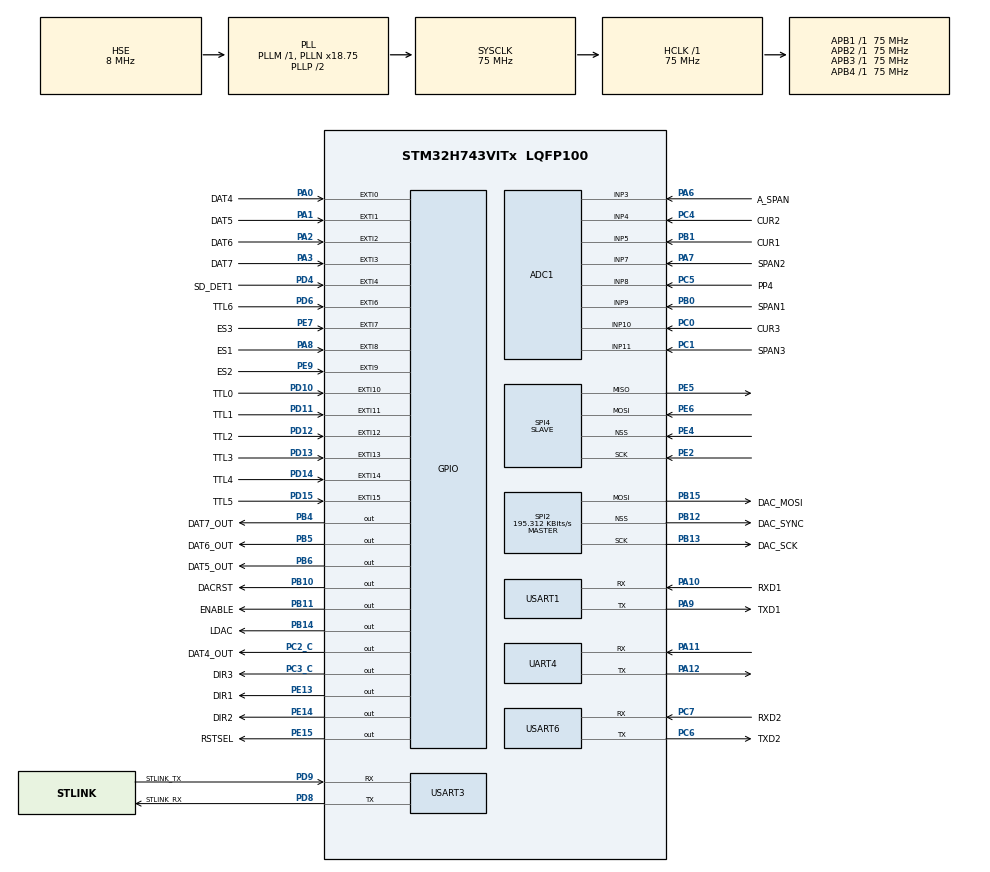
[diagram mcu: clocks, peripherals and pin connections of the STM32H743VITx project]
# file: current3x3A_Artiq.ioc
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ADC1.Channel-2\#ChannelRegularConversion=ADC_CHANNEL_5
ADC1.NbrOfConversionFlag=1
ADC1.OffsetNumber-2\#ChannelRegularConversion=ADC_OFFSET_NONE
ADC1.OffsetSignedSaturation-2\#ChannelRegularConversion=DISABLE
ADC1.Rank-2\#ChannelRegularConversion=1
ADC1.SamplingTime-2\#ChannelRegularConversion=ADC_SAMPLETIME_1CYCLE_5
ADC1.master=1
ADC2.Channel-0\#ChannelRegularConversion=ADC_CHANNEL_3
ADC2.NbrOfConversionFlag=1
ADC2.OffsetNumber-0\#ChannelRegularConversion=ADC_OFFSET_NONE
ADC2.OffsetSignedSaturation-0\#ChannelRegularConversion=DISABLE
ADC2.Rank-0\#ChannelRegularConversion=1
ADC2.SamplingTime-0\#ChannelRegularConversion=ADC_SAMPLETIME_1CYCLE_5
CORTEX_M7.CPU_DCache=Disabled
CORTEX_M7.CPU_ICache=Disabled
CORTEX_M7.MPU_Control=__NULL
CORTEX_M7.default_mode_Activation=0
FREERTOS.Tasks01=defaultTask,24,128,StartDefaultTask,Default,NULL,Dynamic,NULL,NULL;interfaceTask,8,128,StartInterfaceTask,Default,NULL,Dynamic,NULL,NULL
Mcu.Family=STM32H7
Mcu.Name=STM32H743VITx
Mcu.Package=LQFP100
NVIC.EXTI15_10_IRQn=true\:5\:0\:false\:false\:true\:true\:true\:true\:true
NVIC.EXTI9_5_IRQn=true\:5\:0\:false\:false\:true\:true\:true\:true\:true
NVIC.PriorityGroup=NVIC_PRIORITYGROUP_4
PA0.GPIO_Label=DAT4
PA0.Signal=GPXTI0
PA1.GPIO_Label=DAT5
PA1.Signal=GPXTI1
PA10.GPIO_Label=RXD1
PA10.Mode=Asynchronous
PA10.Signal=USART1_RX
PA11.Mode=Asynchronous
PA11.Signal=UART4_RX
PA12.Mode=Asynchronous
PA12.Signal=UART4_TX
PA13\ (JTMS/SWDIO).Mode=JTAG_4_pins
PA13\ (JTMS/SWDIO).Signal=DEBUG_JTMS-SWDIO
PA14\ (JTCK/SWCLK).Mode=JTAG_4_pins
PA14\ (JTCK/SWCLK).Signal=DEBUG_JTCK-SWCLK
PA15\ (JTDI).Mode=JTAG_4_pins
PA15\ (JTDI).Signal=DEBUG_JTDI
PA2.GPIO_Label=DAT6
PA2.Signal=GPXTI2
PA3.GPIO_Label=DAT7
PA3.Signal=GPXTI3
PA6.GPIO_Label=A_SPAN
PA6.Signal=ADCx_INP3
PA7.GPIO_Label=SPAN2
PA7.Signal=ADCx_INP7
PA8.GPIO_Label=ES1
PA8.Signal=GPXTI8
PA9.GPIO_Label=TXD1
PA9.Mode=Asynchronous
PA9.Signal=USART1_TX
PB0.GPIO_Label=SPAN1
PB0.Signal=ADCx_INP9
PB1.GPIO_Label=CUR1
PB1.Signal=ADCx_INP5
PB10.GPIO_Label=DACRST
PB10.Signal=GPIO_Output
PB11.GPIO_Label=ENABLE
PB11.Signal=GPIO_Output
PB12.GPIO_Label=DAC_SYNC
PB12.Mode=NSS_Signal_Hard_Output
PB12.Signal=SPI2_NSS
PB13.GPIO_Label=DAC_SCK
PB13.Mode=TX_Only_Simplex_Unidirect_Master
PB13.Signal=SPI2_SCK
PB14.GPIO_Label=LDAC
PB14.Signal=GPIO_Output
PB15.GPIO_Label=DAC_MOSI
PB15.Mode=TX_Only_Simplex_Unidirect_Master
PB15.Signal=SPI2_MOSI
PB3\ (JTDO/TRACESWO).Mode=JTAG_4_pins
PB3\ (JTDO/TRACESWO).Signal=DEBUG_JTDO-SWO
PB4\ (NJTRST).GPIO_Label=DAT7_OUT
PB4\ (NJTRST).Signal=GPIO_Output
PB5.GPIO_Label=DAT6_OUT
PB5.Signal=GPIO_Output
PB6.GPIO_Label=DAT5_OUT
PB6.Signal=GPIO_Output
PC0.GPIO_Label=CUR3
PC0.Signal=ADCx_INP10
PC1.GPIO_Label=SPAN3
PC1.Signal=ADCx_INP11
PC2_C.GPIO_Label=DAT4_OUT
PC2_C.Signal=GPIO_Output
PC3_C.GPIO_Label=DIR3
PC3_C.Signal=GPIO_Output
PC4.GPIO_Label=CUR2
PC4.Signal=ADCx_INP4
PC5.GPIO_Label=PP4
PC5.Signal=ADCx_INP8
PC6.GPIO_Label=TXD2
PC6.Mode=Asynchronous
PC6.Signal=USART6_TX
PC7.GPIO_Label=RXD2
PC7.Mode=Asynchronous
PC7.Signal=USART6_RX
PC8.Signal=SDMMC1_D0
PC9.Signal=SDMMC1_D1
PD10.GPIO_Label=TTL0
PD10.GPIO_PuPd=GPIO_PULLDOWN
PD10.Signal=GPXTI10
PD11.GPIO_Label=TTL1
PD11.GPIO_PuPd=GPIO_PULLDOWN
PD11.Signal=GPXTI11
PD12.GPIO_Label=TTL2
PD12.GPIO_PuPd=GPIO_PULLDOWN
PD12.Signal=GPXTI12
PD13.GPIO_Label=TTL3
PD13.GPIO_PuPd=GPIO_PULLDOWN
PD13.Signal=GPXTI13
PD14.GPIO_Label=TTL4
PD14.GPIO_PuPd=GPIO_PULLDOWN
PD14.Signal=GPXTI14
PD15.GPIO_Label=TTL5
PD15.GPIO_PuPd=GPIO_PULLDOWN
PD15.Signal=GPXTI15
PD4.GPIO_Label=SD_DET1
PD4.Signal=GPXTI4
PD6.GPIO_Label=TTL6
PD6.GPIO_PuPd=GPIO_PULLDOWN
PD6.Signal=GPXTI6
PD8.GPIO_Label=STLINK_RX
PD8.Mode=Asynchronous
PD8.Signal=USART3_TX
PD9.GPIO_Label=STLINK_TX
PD9.Mode=Asynchronous
PD9.Signal=USART3_RX
PE13.GPIO_Label=DIR1
PE13.Signal=GPIO_Output
PE14.GPIO_Label=DIR2
PE14.Signal=GPIO_Output
PE15.GPIO_Label=RSTSEL
PE15.Signal=GPIO_Output
PE2.Mode=Full_Duplex_Slave
PE2.Signal=SPI4_SCK
PE4.Mode=NSS_Signal_Hard_Input
PE4.Signal=SPI4_NSS
PE5.Mode=Full_Duplex_Slave
PE5.Signal=SPI4_MISO
PE6.Mode=Full_Duplex_Slave
PE6.Signal=SPI4_MOSI
PE7.GPIO_Label=ES3
PE7.Signal=GPXTI7
PE9.GPIO_Label=ES2
PE9.Signal=GPXTI9
PH0-OSC_IN\ (PH0).Mode=HSE-External-Oscillator
PH0-OSC_IN\ (PH0).Signal=RCC_OSC_IN
PH1-OSC_OUT\ (PH1).Mode=HSE-External-Oscillator
PH1-OSC_OUT\ (PH1).Signal=RCC_OSC_OUT
ProjectManager.HeapSize=0x200
ProjectManager.StackSize=0x400
ProjectManager.TargetToolchain=STM32CubeIDE
RCC.ADCFreq_Value=75000000
RCC.APB1Freq_Value=75000000
RCC.APB2Freq_Value=75000000
RCC.APB3Freq_Value=75000000
RCC.APB4Freq_Value=75000000
RCC.CortexFreq_Value=75000000
RCC.DIVM1=1
RCC.DIVM2=1
RCC.DIVN1=18
RCC.DIVN2=18
RCC.DIVQ1=3
RCC.HCLKFreq_Value=75000000
RCC.HSE_VALUE=8000000
RCC.PLL2FRACN=6144
RCC.PLLFRACN=6144
RCC.PLLSourceVirtual=RCC_PLLSOURCE_HSE
RCC.PWR_Regulator_Voltage_Scale=PWR_REGULATOR_VOLTAGE_SCALE2
RCC.SYSCLKFreq_VALUE=75000000
RCC.SYSCLKSource=RCC_SYSCLKSOURCE_PLLCLK
RCC.USBFreq_Value=50000000
SH.ADCx_INP10.0=ADC1_INP10,IN10-Single-Ended
SH.ADCx_INP10.1=ADC2_INP10,IN10-Single-Ended
SH.ADCx_INP11.0=ADC1_INP11,IN11-Single-Ended
SH.ADCx_INP11.1=ADC2_INP11,IN11-Single-Ended
SH.ADCx_INP3.0=ADC1_INP3,IN3-Single-Ended
SH.ADCx_INP3.1=ADC2_INP3,IN3-Single-Ended
SH.ADCx_INP4.0=ADC1_INP4,IN4-Single-Ended
SH.ADCx_INP4.1=ADC2_INP4,IN4-Single-Ended
SH.ADCx_INP5.0=ADC1_INP5,IN5-Single-Ended
SH.ADCx_INP5.1=ADC2_INP5,IN5-Single-Ended
SH.ADCx_INP7.0=ADC1_INP7,IN7-Single-Ended
SH.ADCx_INP7.1=ADC2_INP7,IN7-Single-Ended
SH.ADCx_INP8.0=ADC1_INP8,IN8-Single-Ended
SH.ADCx_INP8.1=ADC2_INP8,IN8-Single-Ended
SH.ADCx_INP9.0=ADC1_INP9,IN9-Single-Ended
SH.ADCx_INP9.1=ADC2_INP9,IN9-Single-Ended
SPI2.BaudRatePrescaler=SPI_BAUDRATEPRESCALER_256
SPI2.CLKPhase=SPI_PHASE_2EDGE
SPI2.CalculateBaudRate=195.312 KBits/s
SPI2.DataSize=SPI_DATASIZE_24BIT
SPI2.Direction=SPI_DIRECTION_2LINES_TXONLY
SPI2.Mode=SPI_MODE_MASTER
SPI2.VirtualNSS=VM_NSSHARD
SPI2.VirtualType=VM_MASTER
SPI4.Direction=SPI_DIRECTION_2LINES
SPI4.Mode=SPI_MODE_SLAVE
SPI4.VirtualNSS=VM_NSSHARD
SPI4.VirtualType=VM_SLAVE
USART1.VirtualMode-Asynchronous=VM_ASYNC
USART3.VirtualMode-Asynchronous=VM_ASYNC
USART6.VirtualMode=VM_ASYNC
VP_FREERTOS_VS_CMSIS_V2.Mode=CMSIS_V2
VP_MEMORYMAP_VS_MEMORYMAP.Mode=CurAppReg
board=NUCLEO-H743ZI2

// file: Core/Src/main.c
/* USER CODE BEGIN Header */
/**
  ******************************************************************************
  * @file           : main.c
  * @brief          : Main program body
  ******************************************************************************
  * @attention
  *
  * Copyright (c) 2024 STMicroelectronics.
  * All rights reserved.
  *
  * This software is licensed under terms that can be found in the LICENSE file
  * in the root directory of this software component.
  * If no LICENSE file comes with this software, it is provided AS-IS.
  *
  ******************************************************************************
  */
/* USER CODE END Header */
#include "main.h"
#include "cmsis_os.h"

/* USER CODE BEGIN Includes */
#include "interface.h"
/* USER CODE END Includes */

/* USER CODE BEGIN PD */
#define FLASH_PARAM_START_ADDR  ((uint32_t)0x081E0000)  // bank 2, sektor 7
#define FLASH_WORD_SIZE        (32)  // Flash word = 256-bit = 32 bytes
#define BUFFER_SIZE 100
#define MAX(a,b) (((a)>(b))?(a):(b))
#define NUMBER_OF_STATES 8
/* USER CODE END PD */

ADC_HandleTypeDef hadc1;
ADC_HandleTypeDef hadc2;

SPI_HandleTypeDef hspi2;
SPI_HandleTypeDef hspi4;

UART_HandleTypeDef huart4;
UART_HandleTypeDef huart1;
UART_HandleTypeDef huart3;
UART_HandleTypeDef huart6;

/* Definitions for defaultTask */
osThreadId_t defaultTaskHandle;
const osThreadAttr_t defaultTask_attributes = {
  .name = "defaultTask",
  .stack_size = 128 * 4,
  .priority = (osPriority_t) osPriorityNormal,
};
/* Definitions for interfaceTask */
osThreadId_t interfaceTaskHandle;
const osThreadAttr_t interfaceTask_attributes = {
  .name = "interfaceTask",
  .stack_size = 128 * 4,
  .priority = (osPriority_t) osPriorityLow,
};
/* USER CODE BEGIN PV */
char spi_buf[30];
int state;
uint16_t d_in;
/* `just_started` no longer needed since DAC is updated on every trigger */

/* create an array for DAC's values:
		row 0 for DAC1: X1, Y1, Z1, T1
		row 1 for DAC2: X2, Y2, Z2, T2
		...
		X,Y,Z are voltage value in volt and T is time in ms
*/
double DAC[NUMBER_OF_STATES][4] = {
    [0 ... NUMBER_OF_STATES-1] = {0.0, 0.0, 0.0, 1.0}
};
double TDAC[4] = {0.0, 0.0, 0.0, 1}; // <- this tab is used for transitions between states
GPIO_TypeDef* t_DIR_GPIO_Port[3] = {DIR1_GPIO_Port, DIR2_GPIO_Port, DIR3_GPIO_Port};
uint16_t t_DIR_Pin[3] = {DIR1_Pin, DIR2_Pin, DIR3_Pin};
const double v_ref = 3.0;
const int max_dec = 65536;
int last_r = 3;

void Flash_Write_Params(uint32_t address, parameters *data) {
  HAL_FLASH_Unlock();  // Odblokowanie pamięci flash

  FLASH_EraseInitTypeDef eraseInitStruct;
  uint32_t sectorError;

  // Kasowanie sektora przed zapisem
  eraseInitStruct.TypeErase    = FLASH_TYPEERASE_SECTORS;
  eraseInitStruct.Banks        = FLASH_BANK_2;  // **Bank 2**
  eraseInitStruct.Sector       = FLASH_SECTOR_7;  // **Sektor 7**
  eraseInitStruct.NbSectors    = 1;
  eraseInitStruct.VoltageRange = FLASH_VOLTAGE_RANGE_3;

  if (HAL_FLASHEx_Erase(&eraseInitStruct, &sectorError) != HAL_OK) {
      HAL_FLASH_Lock();
      return;  // Błąd kasowania
  }

  uint64_t *data_ptr = (uint64_t*)data;
  uint64_t flash_word[4];
  for (uint32_t i = 0; i < sizeof(parameters) / 8; i += 4) {
      flash_word[0] = (i < sizeof(parameters) / 8) ? data_ptr[i] : 0xFFFFFFFFFFFFFFFF;
      flash_word[1] = (i + 1 < sizeof(parameters) / 8) ? data_ptr[i + 1] : 0xFFFFFFFFFFFFFFFF;
      flash_word[2] = (i + 2 < sizeof(parameters) / 8) ? data_ptr[i + 2] : 0xFFFFFFFFFFFFFFFF;
      flash_word[3] = (i + 3 < sizeof(parameters) / 8) ? data_ptr[i + 3] : 0xFFFFFFFFFFFFFFFF;

      if (HAL_FLASH_Program(FLASH_TYPEPROGRAM_FLASHWORD, address + i * 8, (uint64_t)flash_word) != HAL_OK) {
          HAL_FLASH_Lock();
          return;  // Błąd zapisu
      }
  }

  HAL_FLASH_Lock();  // Zablokowanie pamięci flash
}

void Flash_Read_Params(uint32_t address, parameters *data) {
  memcpy(data, (void*)address, sizeof(parameters));  // Odczytaj całą strukturę
}

uint32_t Flash_Read_Version(uint32_t address) {
  return *(volatile double*)address;  // Odczytaj pierwsze 4 bajty
}

/* USER CODE END PV */

void SystemClock_Config(void);
void PeriphCommonClock_Config(void);
static void MX_GPIO_Init(void);
static void MX_USART3_UART_Init(void);
static void MX_ADC1_Init(void);
static void MX_SPI2_Init(void);
static void MX_UART4_Init(void);
static void MX_ADC2_Init(void);
static void MX_SPI4_Init(void);
static void MX_USART1_UART_Init(void);
static void MX_USART6_UART_Init(void);
void StartDefaultTask(void *argument);
void StartInterfaceTask(void *argument);

/* USER CODE BEGIN PFP */
void SendSpiMesToDac(uint32_t);
void SetDAC(uint8_t channel, uint16_t value);
void SendToDAC(int r);
int ExtractMessageOld(char* msg, char* out);
void ExtractMessage(char* rxBuffer, char* txBuffer);
void arrayToString(double DAC[4][4], char *result);
void update_array();
static inline uint8_t ttl_bit(GPIO_TypeDef *port, uint16_t pin);
/* USER CODE END PFP */

/* USER CODE BEGIN 0 */
extern parameters par;
/* USER CODE END 0 */

int main(void)
{

  /* MCU Configuration--------------------------------------------------------*/

  /* Reset of all peripherals, Initializes the Flash interface and the Systick. */
  HAL_Init();

  /* Configure the system clock */
  SystemClock_Config();

  /* Configure the peripherals common clocks */
  PeriphCommonClock_Config();

  /* Initialize all configured peripherals */
  MX_GPIO_Init();
  MX_USART3_UART_Init();
  MX_ADC1_Init();
  MX_SPI2_Init();
  MX_UART4_Init();
  MX_ADC2_Init();
  MX_SPI4_Init();
  MX_USART1_UART_Init();
  MX_USART6_UART_Init();
  /* USER CODE BEGIN 2 */

  initInterface();

  // read par from flash
  if (par.version != Flash_Read_Version(FLASH_PARAM_START_ADDR)){
    Flash_Write_Params(FLASH_PARAM_START_ADDR, &par);
  }
  else{
    Flash_Read_Params(FLASH_PARAM_START_ADDR, &par);
  }

  // DAC - Reset select.
	// If RSTSEL is low, input coding is binary;
	// if high = 2's complement
	HAL_GPIO_WritePin(RSTSEL_GPIO_Port, RSTSEL_Pin, GPIO_PIN_RESET);

	// if SET = work, if RESET = set all outputs to 0
	// (this pin was solderd to 3.3V on board in 3x3A_v2 version because of bug
	HAL_GPIO_WritePin(DACRST_GPIO_Port, DACRST_Pin, GPIO_PIN_SET);

	SetDAC(0, 0);
	SetDAC(1, 0);
	SetDAC(2, 0);
	SetDAC(3, 0);

	// DIR SET means: positive and DIR RESET means: negative
	HAL_GPIO_WritePin(DIR1_GPIO_Port, DIR1_Pin, GPIO_PIN_SET);
	HAL_GPIO_WritePin(DIR2_GPIO_Port, DIR2_Pin, GPIO_PIN_SET);
	HAL_GPIO_WritePin(DIR3_GPIO_Port, DIR3_Pin, GPIO_PIN_SET);
  /* USER CODE END 2 */

  /* Init scheduler */
  osKernelInitialize();

  /* Create the thread(s) */
  /* creation of defaultTask */
  defaultTaskHandle = osThreadNew(StartDefaultTask, NULL, &defaultTask_attributes);

  /* creation of interfaceTask */
  interfaceTaskHandle = osThreadNew(StartInterfaceTask, NULL, &interfaceTask_attributes);

  /* Start scheduler */
  osKernelStart();

  /* We should never get here as control is now taken by the scheduler */

  /* Infinite loop */
  while (1)
  {

  }
}

void SystemClock_Config(void)
{
  RCC_OscInitTypeDef RCC_OscInitStruct = {0};
  RCC_ClkInitTypeDef RCC_ClkInitStruct = {0};

  /** Supply configuration update enable
  */
  HAL_PWREx_ConfigSupply(PWR_LDO_SUPPLY);

  /** Configure the main internal regulator output voltage
  */
  __HAL_PWR_VOLTAGESCALING_CONFIG(PWR_REGULATOR_VOLTAGE_SCALE2);

  while(!__HAL_PWR_GET_FLAG(PWR_FLAG_VOSRDY)) {}

  /** Initializes the RCC Oscillators according to the specified parameters
  * in the RCC_OscInitTypeDef structure.
  */
  RCC_OscInitStruct.OscillatorType = RCC_OSCILLATORTYPE_HSE;
  RCC_OscInitStruct.HSEState = RCC_HSE_ON;
  RCC_OscInitStruct.PLL.PLLState = RCC_PLL_ON;
  RCC_OscInitStruct.PLL.PLLSource = RCC_PLLSOURCE_HSE;
  RCC_OscInitStruct.PLL.PLLM = 1;
  RCC_OscInitStruct.PLL.PLLN = 18;
  RCC_OscInitStruct.PLL.PLLP = 2;
  RCC_OscInitStruct.PLL.PLLQ = 3;
  RCC_OscInitStruct.PLL.PLLR = 2;
  RCC_OscInitStruct.PLL.PLLRGE = RCC_PLL1VCIRANGE_3;
  RCC_OscInitStruct.PLL.PLLVCOSEL = RCC_PLL1VCOMEDIUM;
  RCC_OscInitStruct.PLL.PLLFRACN = 6144;
  if (HAL_RCC_OscConfig(&RCC_OscInitStruct) != HAL_OK)
  {
    Error_Handler();
  }

  /** Initializes the CPU, AHB and APB buses clocks
  */
  RCC_ClkInitStruct.ClockType = RCC_CLOCKTYPE_HCLK|RCC_CLOCKTYPE_SYSCLK
                              |RCC_CLOCKTYPE_PCLK1|RCC_CLOCKTYPE_PCLK2
                              |RCC_CLOCKTYPE_D3PCLK1|RCC_CLOCKTYPE_D1PCLK1;
  RCC_ClkInitStruct.SYSCLKSource = RCC_SYSCLKSOURCE_PLLCLK;
  RCC_ClkInitStruct.SYSCLKDivider = RCC_SYSCLK_DIV1;
  RCC_ClkInitStruct.AHBCLKDivider = RCC_HCLK_DIV1;
  RCC_ClkInitStruct.APB3CLKDivider = RCC_APB3_DIV1;
  RCC_ClkInitStruct.APB1CLKDivider = RCC_APB1_DIV1;
  RCC_ClkInitStruct.APB2CLKDivider = RCC_APB2_DIV1;
  RCC_ClkInitStruct.APB4CLKDivider = RCC_APB4_DIV1;

  if (HAL_RCC_ClockConfig(&RCC_ClkInitStruct, FLASH_LATENCY_1) != HAL_OK)
  {
    Error_Handler();
  }
}

void PeriphCommonClock_Config(void)
{
  RCC_PeriphCLKInitTypeDef PeriphClkInitStruct = {0};

  /** Initializes the peripherals clock
  */
  PeriphClkInitStruct.PeriphClockSelection = RCC_PERIPHCLK_ADC;
  PeriphClkInitStruct.PLL2.PLL2M = 1;
  PeriphClkInitStruct.PLL2.PLL2N = 18;
  PeriphClkInitStruct.PLL2.PLL2P = 2;
  PeriphClkInitStruct.PLL2.PLL2Q = 2;
  PeriphClkInitStruct.PLL2.PLL2R = 2;
  PeriphClkInitStruct.PLL2.PLL2RGE = RCC_PLL2VCIRANGE_3;
  PeriphClkInitStruct.PLL2.PLL2VCOSEL = RCC_PLL2VCOMEDIUM;
  PeriphClkInitStruct.PLL2.PLL2FRACN = 6144;
  PeriphClkInitStruct.AdcClockSelection = RCC_ADCCLKSOURCE_PLL2;
  if (HAL_RCCEx_PeriphCLKConfig(&PeriphClkInitStruct) != HAL_OK)
  {
    Error_Handler();
  }
}

static void MX_ADC1_Init(void)
{

  ADC_MultiModeTypeDef multimode = {0};
  ADC_ChannelConfTypeDef sConfig = {0};

  /** Common config
  */
  hadc1.Instance = ADC1;
  hadc1.Init.ScanConvMode = ADC_SCAN_DISABLE;
  hadc1.Init.EOCSelection = ADC_EOC_SINGLE_CONV;
  hadc1.Init.LowPowerAutoWait = DISABLE;
  hadc1.Init.ContinuousConvMode = DISABLE;
  hadc1.Init.NbrOfConversion = 1;
  hadc1.Init.DiscontinuousConvMode = DISABLE;
  hadc1.Init.ExternalTrigConv = ADC_SOFTWARE_START;
  hadc1.Init.ExternalTrigConvEdge = ADC_EXTERNALTRIGCONVEDGE_NONE;
  hadc1.Init.ConversionDataManagement = ADC_CONVERSIONDATA_DR;
  hadc1.Init.Overrun = ADC_OVR_DATA_PRESERVED;
  hadc1.Init.LeftBitShift = ADC_LEFTBITSHIFT_NONE;
  hadc1.Init.OversamplingMode = DISABLE;
  hadc1.Init.Oversampling.Ratio = 1;
  if (HAL_ADC_Init(&hadc1) != HAL_OK)
  {
    Error_Handler();
  }
  hadc1.Init.ClockPrescaler = ADC_CLOCK_ASYNC_DIV2;
  hadc1.Init.Resolution = ADC_RESOLUTION_16B;
  if (HAL_ADC_Init(&hadc1) != HAL_OK)
  {
    Error_Handler();
  }

  /** Configure the ADC multi-mode
  */
  multimode.Mode = ADC_MODE_INDEPENDENT;
  if (HAL_ADCEx_MultiModeConfigChannel(&hadc1, &multimode) != HAL_OK)
  {
    Error_Handler();
  }

  /** Configure Regular Channel
  */
  sConfig.Channel = ADC_CHANNEL_5;
  sConfig.Rank = ADC_REGULAR_RANK_1;
  sConfig.SamplingTime = ADC_SAMPLETIME_1CYCLE_5;
  sConfig.SingleDiff = ADC_SINGLE_ENDED;
  sConfig.OffsetNumber = ADC_OFFSET_NONE;
  sConfig.Offset = 0;
  sConfig.OffsetSignedSaturation = DISABLE;
  if (HAL_ADC_ConfigChannel(&hadc1, &sConfig) != HAL_OK)
  {
    Error_Handler();
  }

}

static void MX_ADC2_Init(void)
{

  ADC_ChannelConfTypeDef sConfig = {0};

  /** Common config
  */
  hadc2.Instance = ADC2;
  hadc2.Init.ScanConvMode = ADC_SCAN_DISABLE;
  hadc2.Init.EOCSelection = ADC_EOC_SINGLE_CONV;
  hadc2.Init.LowPowerAutoWait = DISABLE;
  hadc2.Init.ContinuousConvMode = DISABLE;
  hadc2.Init.NbrOfConversion = 1;
  hadc2.Init.DiscontinuousConvMode = DISABLE;
  hadc2.Init.ExternalTrigConv = ADC_SOFTWARE_START;
  hadc2.Init.ExternalTrigConvEdge = ADC_EXTERNALTRIGCONVEDGE_NONE;
  hadc2.Init.ConversionDataManagement = ADC_CONVERSIONDATA_DR;
  hadc2.Init.Overrun = ADC_OVR_DATA_PRESERVED;
  hadc2.Init.LeftBitShift = ADC_LEFTBITSHIFT_NONE;
  hadc2.Init.OversamplingMode = DISABLE;
  hadc2.Init.Oversampling.Ratio = 1;
  if (HAL_ADC_Init(&hadc2) != HAL_OK)
  {
    Error_Handler();
  }
  hadc2.Init.ClockPrescaler = ADC_CLOCK_ASYNC_DIV2;
  hadc2.Init.Resolution = ADC_RESOLUTION_16B;
  if (HAL_ADC_Init(&hadc2) != HAL_OK)
  {
    Error_Handler();
  }

  /** Configure Regular Channel
  */
  sConfig.Channel = ADC_CHANNEL_3;
  sConfig.Rank = ADC_REGULAR_RANK_1;
  sConfig.SamplingTime = ADC_SAMPLETIME_1CYCLE_5;
  sConfig.SingleDiff = ADC_SINGLE_ENDED;
  sConfig.OffsetNumber = ADC_OFFSET_NONE;
  sConfig.Offset = 0;
  sConfig.OffsetSignedSaturation = DISABLE;
  if (HAL_ADC_ConfigChannel(&hadc2, &sConfig) != HAL_OK)
  {
    Error_Handler();
  }

}

static void MX_SPI2_Init(void)
{

  /* SPI2 parameter configuration*/
  hspi2.Instance = SPI2;
  hspi2.Init.Mode = SPI_MODE_MASTER;
  hspi2.Init.Direction = SPI_DIRECTION_2LINES_TXONLY;
  hspi2.Init.DataSize = SPI_DATASIZE_24BIT;
  hspi2.Init.CLKPolarity = SPI_POLARITY_LOW;
  hspi2.Init.CLKPhase = SPI_PHASE_2EDGE;
  hspi2.Init.NSS = SPI_NSS_HARD_OUTPUT;
  hspi2.Init.BaudRatePrescaler = SPI_BAUDRATEPRESCALER_256;
  hspi2.Init.FirstBit = SPI_FIRSTBIT_MSB;
  hspi2.Init.TIMode = SPI_TIMODE_DISABLE;
  hspi2.Init.CRCCalculation = SPI_CRCCALCULATION_DISABLE;
  hspi2.Init.CRCPolynomial = 0x0;
  hspi2.Init.NSSPMode = SPI_NSS_PULSE_ENABLE;
  hspi2.Init.NSSPolarity = SPI_NSS_POLARITY_LOW;
  hspi2.Init.FifoThreshold = SPI_FIFO_THRESHOLD_01DATA;
  hspi2.Init.TxCRCInitializationPattern = SPI_CRC_INITIALIZATION_ALL_ZERO_PATTERN;
  hspi2.Init.RxCRCInitializationPattern = SPI_CRC_INITIALIZATION_ALL_ZERO_PATTERN;
  hspi2.Init.MasterSSIdleness = SPI_MASTER_SS_IDLENESS_00CYCLE;
  hspi2.Init.MasterInterDataIdleness = SPI_MASTER_INTERDATA_IDLENESS_00CYCLE;
  hspi2.Init.MasterReceiverAutoSusp = SPI_MASTER_RX_AUTOSUSP_DISABLE;
  hspi2.Init.MasterKeepIOState = SPI_MASTER_KEEP_IO_STATE_DISABLE;
  hspi2.Init.IOSwap = SPI_IO_SWAP_DISABLE;
  if (HAL_SPI_Init(&hspi2) != HAL_OK)
  {
    Error_Handler();
  }

}

static void MX_SPI4_Init(void)
{

  /* SPI4 parameter configuration*/
  hspi4.Instance = SPI4;
  hspi4.Init.Mode = SPI_MODE_SLAVE;
  hspi4.Init.Direction = SPI_DIRECTION_2LINES;
  hspi4.Init.DataSize = SPI_DATASIZE_4BIT;
  hspi4.Init.CLKPolarity = SPI_POLARITY_LOW;
  hspi4.Init.CLKPhase = SPI_PHASE_1EDGE;
  hspi4.Init.NSS = SPI_NSS_HARD_INPUT;
  hspi4.Init.FirstBit = SPI_FIRSTBIT_MSB;
  hspi4.Init.TIMode = SPI_TIMODE_DISABLE;
  hspi4.Init.CRCCalculation = SPI_CRCCALCULATION_DISABLE;
  hspi4.Init.CRCPolynomial = 0x0;
  hspi4.Init.NSSPMode = SPI_NSS_PULSE_DISABLE;
  hspi4.Init.NSSPolarity = SPI_NSS_POLARITY_LOW;
  hspi4.Init.FifoThreshold = SPI_FIFO_THRESHOLD_01DATA;
  hspi4.Init.TxCRCInitializationPattern = SPI_CRC_INITIALIZATION_ALL_ZERO_PATTERN;
  hspi4.Init.RxCRCInitializationPattern = SPI_CRC_INITIALIZATION_ALL_ZERO_PATTERN;
  hspi4.Init.MasterSSIdleness = SPI_MASTER_SS_IDLENESS_00CYCLE;
  hspi4.Init.MasterInterDataIdleness = SPI_MASTER_INTERDATA_IDLENESS_00CYCLE;
  hspi4.Init.MasterReceiverAutoSusp = SPI_MASTER_RX_AUTOSUSP_DISABLE;
  hspi4.Init.MasterKeepIOState = SPI_MASTER_KEEP_IO_STATE_DISABLE;
  hspi4.Init.IOSwap = SPI_IO_SWAP_DISABLE;
  if (HAL_SPI_Init(&hspi4) != HAL_OK)
  {
    Error_Handler();
  }

}

static void MX_UART4_Init(void)
{

  huart4.Instance = UART4;
  huart4.Init.BaudRate = 115200;
  huart4.Init.WordLength = UART_WORDLENGTH_8B;
  huart4.Init.StopBits = UART_STOPBITS_1;
  huart4.Init.Parity = UART_PARITY_NONE;
  huart4.Init.Mode = UART_MODE_TX_RX;
  huart4.Init.HwFlowCtl = UART_HWCONTROL_NONE;
  huart4.Init.OverSampling = UART_OVERSAMPLING_16;
  huart4.Init.OneBitSampling = UART_ONE_BIT_SAMPLE_DISABLE;
  huart4.Init.ClockPrescaler = UART_PRESCALER_DIV1;
  huart4.AdvancedInit.AdvFeatureInit = UART_ADVFEATURE_NO_INIT;
  if (HAL_UART_Init(&huart4) != HAL_OK)
  {
    Error_Handler();
  }
  if (HAL_UARTEx_SetTxFifoThreshold(&huart4, UART_TXFIFO_THRESHOLD_1_8) != HAL_OK)
  {
    Error_Handler();
  }
  if (HAL_UARTEx_SetRxFifoThreshold(&huart4, UART_RXFIFO_THRESHOLD_1_8) != HAL_OK)
  {
    Error_Handler();
  }
  if (HAL_UARTEx_DisableFifoMode(&huart4) != HAL_OK)
  {
    Error_Handler();
  }

}

static void MX_USART1_UART_Init(void)
{

  huart1.Instance = USART1;
  huart1.Init.BaudRate = 115200;
  huart1.Init.WordLength = UART_WORDLENGTH_8B;
  huart1.Init.StopBits = UART_STOPBITS_1;
  huart1.Init.Parity = UART_PARITY_NONE;
  huart1.Init.Mode = UART_MODE_TX_RX;
  huart1.Init.HwFlowCtl = UART_HWCONTROL_NONE;
  huart1.Init.OverSampling = UART_OVERSAMPLING_16;
  huart1.Init.OneBitSampling = UART_ONE_BIT_SAMPLE_DISABLE;
  huart1.Init.ClockPrescaler = UART_PRESCALER_DIV1;
  huart1.AdvancedInit.AdvFeatureInit = UART_ADVFEATURE_NO_INIT;
  if (HAL_UART_Init(&huart1) != HAL_OK)
  {
    Error_Handler();
  }
  if (HAL_UARTEx_SetTxFifoThreshold(&huart1, UART_TXFIFO_THRESHOLD_1_8) != HAL_OK)
  {
    Error_Handler();
  }
  if (HAL_UARTEx_SetRxFifoThreshold(&huart1, UART_RXFIFO_THRESHOLD_1_8) != HAL_OK)
  {
    Error_Handler();
  }
  if (HAL_UARTEx_DisableFifoMode(&huart1) != HAL_OK)
  {
    Error_Handler();
  }

}

static void MX_USART3_UART_Init(void)
{

  huart3.Instance = USART3;
  huart3.Init.BaudRate = 115200;
  huart3.Init.WordLength = UART_WORDLENGTH_8B;
  huart3.Init.StopBits = UART_STOPBITS_1;
  huart3.Init.Parity = UART_PARITY_NONE;
  huart3.Init.Mode = UART_MODE_TX_RX;
  huart3.Init.HwFlowCtl = UART_HWCONTROL_NONE;
  huart3.Init.OverSampling = UART_OVERSAMPLING_16;
  huart3.Init.OneBitSampling = UART_ONE_BIT_SAMPLE_DISABLE;
  huart3.Init.ClockPrescaler = UART_PRESCALER_DIV1;
  huart3.AdvancedInit.AdvFeatureInit = UART_ADVFEATURE_NO_INIT;
  if (HAL_UART_Init(&huart3) != HAL_OK)
  {
    Error_Handler();
  }
  if (HAL_UARTEx_SetTxFifoThreshold(&huart3, UART_TXFIFO_THRESHOLD_1_8) != HAL_OK)
  {
    Error_Handler();
  }
  if (HAL_UARTEx_SetRxFifoThreshold(&huart3, UART_RXFIFO_THRESHOLD_1_8) != HAL_OK)
  {
    Error_Handler();
  }
  if (HAL_UARTEx_DisableFifoMode(&huart3) != HAL_OK)
  {
    Error_Handler();
  }

}

static void MX_USART6_UART_Init(void)
{

  huart6.Instance = USART6;
  huart6.Init.BaudRate = 115200;
  huart6.Init.WordLength = UART_WORDLENGTH_8B;
  huart6.Init.StopBits = UART_STOPBITS_1;
  huart6.Init.Parity = UART_PARITY_NONE;
  huart6.Init.Mode = UART_MODE_TX_RX;
  huart6.Init.HwFlowCtl = UART_HWCONTROL_NONE;
  huart6.Init.OverSampling = UART_OVERSAMPLING_16;
  huart6.Init.OneBitSampling = UART_ONE_BIT_SAMPLE_DISABLE;
  huart6.Init.ClockPrescaler = UART_PRESCALER_DIV1;
  huart6.AdvancedInit.AdvFeatureInit = UART_ADVFEATURE_NO_INIT;
  if (HAL_UART_Init(&huart6) != HAL_OK)
  {
    Error_Handler();
  }
  if (HAL_UARTEx_SetTxFifoThreshold(&huart6, UART_TXFIFO_THRESHOLD_1_8) != HAL_OK)
  {
    Error_Handler();
  }
  if (HAL_UARTEx_SetRxFifoThreshold(&huart6, UART_RXFIFO_THRESHOLD_1_8) != HAL_OK)
  {
    Error_Handler();
  }
  if (HAL_UARTEx_DisableFifoMode(&huart6) != HAL_OK)
  {
    Error_Handler();
  }

}

static void MX_GPIO_Init(void)
{
  GPIO_InitTypeDef GPIO_InitStruct = {0};

  /* GPIO Ports Clock Enable */
  __HAL_RCC_GPIOE_CLK_ENABLE();
  __HAL_RCC_GPIOH_CLK_ENABLE();
  __HAL_RCC_GPIOC_CLK_ENABLE();
  __HAL_RCC_GPIOA_CLK_ENABLE();
  __HAL_RCC_GPIOB_CLK_ENABLE();
  __HAL_RCC_GPIOD_CLK_ENABLE();

  /*Configure GPIO pin Output Level */
  HAL_GPIO_WritePin(GPIOC, DAT4_OUT_Pin|DIR3_Pin, GPIO_PIN_RESET);

  /*Configure GPIO pin Output Level */
  HAL_GPIO_WritePin(GPIOE, DIR1_Pin|DIR2_Pin|RSTSEL_Pin, GPIO_PIN_RESET);

  /*Configure GPIO pin Output Level */
  HAL_GPIO_WritePin(GPIOB, DACRST_Pin|ENABLE_Pin|LDAC_Pin|DAT7_OUT_Pin
                          |DAT6_OUT_Pin|DAT5_OUT_Pin, GPIO_PIN_RESET);

  /*Configure GPIO pins : DAT4_OUT_Pin DIR3_Pin */
  GPIO_InitStruct.Pin = DAT4_OUT_Pin|DIR3_Pin;
  GPIO_InitStruct.Mode = GPIO_MODE_OUTPUT_PP;
  GPIO_InitStruct.Pull = GPIO_NOPULL;
  GPIO_InitStruct.Speed = GPIO_SPEED_FREQ_LOW;
  HAL_GPIO_Init(GPIOC, &GPIO_InitStruct);

  /*Configure GPIO pins : DAT4_Pin DAT5_Pin DAT6_Pin DAT7_Pin
                           ES1_Pin */
  GPIO_InitStruct.Pin = DAT4_Pin|DAT5_Pin|DAT6_Pin|DAT7_Pin
                          |ES1_Pin;
  GPIO_InitStruct.Mode = GPIO_MODE_IT_RISING;
  GPIO_InitStruct.Pull = GPIO_NOPULL;
  HAL_GPIO_Init(GPIOA, &GPIO_InitStruct);

  /*Configure GPIO pins : ES3_Pin ES2_Pin */
  GPIO_InitStruct.Pin = ES3_Pin|ES2_Pin;
  GPIO_InitStruct.Mode = GPIO_MODE_IT_RISING;
  GPIO_InitStruct.Pull = GPIO_NOPULL;
  HAL_GPIO_Init(GPIOE, &GPIO_InitStruct);

  /*Configure GPIO pins : DIR1_Pin DIR2_Pin RSTSEL_Pin */
  GPIO_InitStruct.Pin = DIR1_Pin|DIR2_Pin|RSTSEL_Pin;
  GPIO_InitStruct.Mode = GPIO_MODE_OUTPUT_PP;
  GPIO_InitStruct.Pull = GPIO_NOPULL;
  GPIO_InitStruct.Speed = GPIO_SPEED_FREQ_LOW;
  HAL_GPIO_Init(GPIOE, &GPIO_InitStruct);

  /*Configure GPIO pins : DACRST_Pin ENABLE_Pin LDAC_Pin DAT7_OUT_Pin
                           DAT6_OUT_Pin DAT5_OUT_Pin */
  GPIO_InitStruct.Pin = DACRST_Pin|ENABLE_Pin|LDAC_Pin|DAT7_OUT_Pin
                          |DAT6_OUT_Pin|DAT5_OUT_Pin;
  GPIO_InitStruct.Mode = GPIO_MODE_OUTPUT_PP;
  GPIO_InitStruct.Pull = GPIO_NOPULL;
  GPIO_InitStruct.Speed = GPIO_SPEED_FREQ_LOW;
  HAL_GPIO_Init(GPIOB, &GPIO_InitStruct);

  /*Configure GPIO pins : TTL0_Pin TTL1_Pin TTL2_Pin TTL3_Pin
                           TTL4_Pin TTL5_Pin TTL6_Pin */
  GPIO_InitStruct.Pin = TTL0_Pin|TTL1_Pin|TTL2_Pin|TTL3_Pin
                          |TTL4_Pin|TTL5_Pin|TTL6_Pin;
  GPIO_InitStruct.Mode = GPIO_MODE_IT_RISING;
  GPIO_InitStruct.Pull = GPIO_PULLDOWN;
  HAL_GPIO_Init(GPIOD, &GPIO_InitStruct);

  /*Configure GPIO pins : PC8 PC9 */
  GPIO_InitStruct.Pin = GPIO_PIN_8|GPIO_PIN_9;
  GPIO_InitStruct.Mode = GPIO_MODE_AF_PP;
  GPIO_InitStruct.Pull = GPIO_NOPULL;
  GPIO_InitStruct.Speed = GPIO_SPEED_FREQ_VERY_HIGH;
  GPIO_InitStruct.Alternate = GPIO_AF12_SDIO1;
  HAL_GPIO_Init(GPIOC, &GPIO_InitStruct);

  /*Configure GPIO pin : SD_DET1_Pin */
  GPIO_InitStruct.Pin = SD_DET1_Pin;
  GPIO_InitStruct.Mode = GPIO_MODE_IT_RISING;
  GPIO_InitStruct.Pull = GPIO_NOPULL;
  HAL_GPIO_Init(SD_DET1_GPIO_Port, &GPIO_InitStruct);

  /* EXTI interrupt init*/
  HAL_NVIC_SetPriority(EXTI9_5_IRQn, 5, 0);
  HAL_NVIC_EnableIRQ(EXTI9_5_IRQn);

  HAL_NVIC_SetPriority(EXTI15_10_IRQn, 5, 0);
  HAL_NVIC_EnableIRQ(EXTI15_10_IRQn);

}

/* USER CODE BEGIN 4 */
static inline uint8_t ttl_bit(GPIO_TypeDef *port, uint16_t pin) {
    return (HAL_GPIO_ReadPin(port, pin) == GPIO_PIN_SET) ? 1u : 0u;
}

void HAL_GPIO_EXTI_Callback(uint16_t GPIO_Pin)
{
	/*
	 * In Artiq version, there are 7 input TTLs.
	 * TTL1, TTL2 are used to set state (TODO: add TTL3-6)
	 * TTL0 is used to trigger state change
	 */

  if(GPIO_Pin==TTL0_Pin)
  {
	    par.state.val=NUMBER_OF_STATES;
    uint8_t state =
        (ttl_bit(TTL3_GPIO_Port, TTL3_Pin) << 2) |
        (ttl_bit(TTL2_GPIO_Port, TTL2_Pin) << 1) |
        (ttl_bit(TTL1_GPIO_Port, TTL1_Pin) << 0); // LSB = TTL1

    /* always update DAC on trigger, even if state unchanged */
    SendToDAC(state);
    last_r = state;
    par.state.val = state;
  }
}

void arrayToString(double DAC[4][4], char *result) {
    char buffer[50];
    result[0] = '\0';

    for (int i = 0; i < 4; i++) {
        strcat(result, "{ ");
        for (int j = 0; j < 4; j++) {
            sprintf(buffer, "%.2f", DAC[i][j]);
            strcat(result, buffer);
            if (j < 3) strcat(result, ", ");
        }
        strcat(result, " }");
        if (i < 3) strcat(result, ",\n");
    }
}

void SendToDAC(int r)  // original Mehrdad's function
/*
 * r - state number (0-2) (depends on TTLs state) - row number of array DAC
 */
{
//	uint32_t t0, t1, t;
	/* transition time must be min 1ms */
	if(DAC[r][3] < 1){
		DAC[r][3] = 1;
	}

	int n = round(DAC[r][3]*2);	// 58 to apply values to DAC
	/* n is a number of steps in entire transition (assuming 58 steps per 1 ms) */

  double dif[3];

  for (int k = 0; k < 3; k++) {
    /* difx is single step voltage change for channel x */
    dif[k]  = fabs(DAC[r][k] - DAC[last_r][k]) / n;
    // x? this part need for sending correct value in first loop
    TDAC[k] = DAC[last_r][k];
  }

	for(int i = 1; i <= n; i++){

    for(int k = 0; k < 3; k++) {
      TDAC[k] += (DAC[r][k] > DAC[last_r][k]) ? dif[k] : -dif[k];
    }

		for(int j = 0; j < 3; j++){
			  state = 1;
				HAL_GPIO_WritePin(t_DIR_GPIO_Port[j], t_DIR_Pin[j],  (TDAC[j] >= 0) ? GPIO_PIN_RESET : GPIO_PIN_SET);

			  if(fabs(TDAC[j]) > v_ref){
				  d_in = 0xffff;
			  }else{
				  d_in = abs(round((TDAC[j]/v_ref) * max_dec));
			  }

			  SetDAC(j, d_in);
		}
	}
	last_r = r;
}

void update_array(){
  const typeof(par.s0)* S[NUMBER_OF_STATES] = {
        &par.s0, &par.s1, &par.s2, &par.s3,
        &par.s4, &par.s5, &par.s6, &par.s7
    };

    for (int i = 0; i < NUMBER_OF_STATES; ++i) {
        DAC[i][0] = S[i]->v1.val;
        DAC[i][1] = S[i]->v2.val;
        DAC[i][2] = S[i]->v3.val;
        DAC[i][3] = S[i]->t.val;
    }
}

void ExtractMessage(char* rxBuffer, char* txBuffer)
{
    cmd_string_interpret(rxBuffer, txBuffer);
    txBuffer[BUFFER_SIZE - 1] = '\0';
    update_array();
}

void SendSpiMesToDac(uint32_t message){
	/*
	 * send prepared message to DAC
	 */
	HAL_StatusTypeDef status;
	uint8_t dataToSend[3] = {
			(message >> 0) & 0xFF,
	        (message >> 8) & 0xFF,
	        (message >> 16)& 0xFF
	};
	status = HAL_SPI_Transmit(&hspi2, dataToSend, 1, 100);
	if (status != HAL_OK) {
	}
}

void SetDAC(uint8_t channel, uint16_t value){
	/*set DAC, channel (0,1,2,3), value - in bits*/
	uint32_t message = 0x00000000;
	message = message | (value & 0xFFFF);
	message = message | (((uint32_t)channel & 0b11) << 17);
	SendSpiMesToDac(message);

	// LDAC load DACs, rising edge triggered loads all DAC register
	HAL_GPIO_WritePin(LDAC_GPIO_Port, LDAC_Pin, GPIO_PIN_SET);
	HAL_GPIO_WritePin(LDAC_GPIO_Port, LDAC_Pin, GPIO_PIN_RESET);
}
/* USER CODE END 4 */

void StartDefaultTask(void *argument)
{
  for(;;)
  {
    osDelay(1);
  }
}

void StartInterfaceTask(void *argument)
{
  /* USER CODE BEGIN StartInterfaceTask */
  uint8_t rxChar;
  uint8_t rxBuffer[BUFFER_SIZE];
  uint8_t txBuffer[BUFFER_SIZE];
//  uint8_t tmpBuffer[BUFFER_SIZE];
  uint16_t index = 0;
  uint8_t helloMsg[] = "\n";
  HAL_StatusTypeDef status;

  HAL_UART_Transmit(&huart4, helloMsg, strlen(helloMsg), HAL_MAX_DELAY);

  /* Infinite loop */
  for(;;)
  {
	  /* Receive a single character */
	  status = HAL_UART_Receive(&huart4, &rxChar, 1, HAL_MAX_DELAY);
	  if (status == HAL_OK)
	  {
		  if ((rxChar == '\r' || rxChar == '\n') && index>0){
			  rxBuffer[index++]='\n';
			  rxBuffer[index++]='\0';
			  ExtractMessage((char*) rxBuffer, (char*) txBuffer);
//			  strcpy(tmpBuffer, helloMsg);
//			  strcat(tmpBuffer, txBuffer);
//			  strcpy(txBuffer, tmpBuffer);

			  HAL_UART_Transmit(&huart4, txBuffer, strlen(txBuffer), HAL_MAX_DELAY);
			  HAL_UART_Transmit(&huart4, helloMsg, strlen(helloMsg), HAL_MAX_DELAY);
			  index=0;
		  }
		  else{
			  rxBuffer[index++] = rxChar;
			  if (index >= BUFFER_SIZE) index = 0;
		  }
	  }

    if (par.save.val == 1){
      par.save.val = 0;
      Flash_Write_Params(FLASH_PARAM_START_ADDR, &par);
    }
    if (par.load.val == 1){
      par.load.val = 0;
      Flash_Read_Params(FLASH_PARAM_START_ADDR, &par);
    }
  }
  /* USER CODE END StartInterfaceTask */
}

void Error_Handler(void)
{
  __disable_irq();
  while (1)
  {
  }
}
